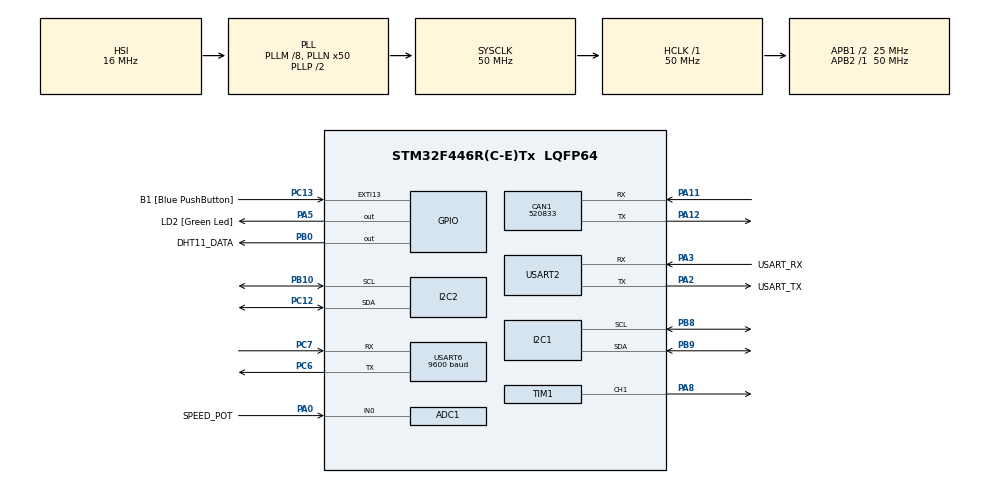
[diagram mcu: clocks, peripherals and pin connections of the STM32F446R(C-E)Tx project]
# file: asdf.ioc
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ADC1.Channel-0\#ChannelRegularConversion=ADC_CHANNEL_0
ADC1.NbrOfConversionFlag=1
ADC1.Rank-0\#ChannelRegularConversion=1
ADC1.SamplingTime-0\#ChannelRegularConversion=ADC_SAMPLETIME_3CYCLES
ADC1.master=1
CAN1.CalculateBaudRate=520833
CAN1.CalculateTimeBit=1920
CAN1.CalculateTimeQuantum=640.0
Mcu.Family=STM32F4
Mcu.Name=STM32F446R(C-E)Tx
Mcu.Package=LQFP64
NVIC.CAN1_RX0_IRQn=true\:0\:0\:false\:false\:true\:true\:true\:true
NVIC.PriorityGroup=NVIC_PRIORITYGROUP_0
NVIC.USART6_IRQn=true\:0\:0\:false\:false\:true\:true\:true\:true
PA0-WKUP.GPIO_Label=SPEED_POT
PA0-WKUP.Signal=ADCx_IN0
PA11.Mode=CAN_Activate
PA11.Signal=CAN1_RX
PA12.Mode=CAN_Activate
PA12.Signal=CAN1_TX
PA13.GPIO_Label=TMS
PA13.Mode=Serial_Wire
PA13.Signal=SYS_JTMS-SWDIO
PA14.GPIO_Label=TCK
PA14.Mode=Serial_Wire
PA14.Signal=SYS_JTCK-SWCLK
PA2.GPIO_Label=USART_TX
PA2.Mode=Asynchronous
PA2.Signal=USART2_TX
PA3.GPIO_Label=USART_RX
PA3.Mode=Asynchronous
PA3.Signal=USART2_RX
PA5.GPIO_Label=LD2 [Green Led]
PA5.Signal=GPIO_Output
PA8.Signal=S_TIM1_CH1
PB0.GPIO_Label=DHT11_DATA
PB0.Signal=GPIO_Output
PB10.Mode=I2C
PB10.Signal=I2C2_SCL
PB3.GPIO_Label=SWO
PB3.Signal=SYS_JTDO-SWO
PB8.Mode=I2C
PB8.Signal=I2C1_SCL
PB9.Mode=I2C
PB9.Signal=I2C1_SDA
PC12.Mode=I2C
PC12.Signal=I2C2_SDA
PC13.GPIO_Label=B1 [Blue PushButton]
PC13.GPIO_ModeDefaultEXTI=GPIO_MODE_IT_FALLING
PC13.Signal=GPXTI13
PC14-OSC32_IN.Mode=LSE-External-Oscillator
PC14-OSC32_IN.Signal=RCC_OSC32_IN
PC15-OSC32_OUT.Mode=LSE-External-Oscillator
PC15-OSC32_OUT.Signal=RCC_OSC32_OUT
PC6.Mode=Asynchronous
PC6.Signal=USART6_TX
PC7.Mode=Asynchronous
PC7.Signal=USART6_RX
PH0-OSC_IN.Mode=HSE-External-Oscillator
PH0-OSC_IN.Signal=RCC_OSC_IN
PH1-OSC_OUT.Mode=HSE-External-Oscillator
PH1-OSC_OUT.Signal=RCC_OSC_OUT
ProjectManager.HeapSize=0x200
ProjectManager.StackSize=0x400
ProjectManager.TargetToolchain=STM32CubeIDE
RCC.48MHZClocksFreq_Value=84000000
RCC.AHBFreq_Value=50000000
RCC.APB1CLKDivider=RCC_HCLK_DIV2
RCC.APB1Freq_Value=25000000
RCC.APB1TimFreq_Value=50000000
RCC.APB2Freq_Value=50000000
RCC.APB2TimFreq_Value=50000000
RCC.CortexFreq_Value=50000000
RCC.FLatency-AdvancedSettings=FLASH_LATENCY_1
RCC.HCLKFreq_Value=50000000
RCC.HSE_VALUE=8000000
RCC.HSI_VALUE=16000000
RCC.PLLM=8
RCC.PLLN=50
RCC.SYSCLKFreq_VALUE=50000000
RCC.SYSCLKSource=RCC_SYSCLKSOURCE_PLLCLK
RCC.USBFreq_Value=50000000
RCC.VCOOutputFreq_Value=100000000
SH.ADCx_IN0.0=ADC1_IN0,IN0
SH.S_TIM1_CH1.0=TIM1_CH1,PWM Generation1 CH1
TIM1.Channel-PWM\ Generation1\ CH1=TIM_CHANNEL_1
TIM1.Prescaler=49
USART2.VirtualMode=VM_ASYNC
USART6.BaudRate=9600
USART6.VirtualMode=VM_ASYNC
VP_TIM1_VS_ClockSourceINT.Mode=Internal
board=NUCLEO-F446RE

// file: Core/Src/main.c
/* USER CODE BEGIN Header */
/**
 ******************************************************************************
 * @file           : main.c
 * @brief          : Main program body
 ******************************************************************************
 * @attention
 *
 * Copyright (c) 2026 STMicroelectronics.
 * All rights reserved.
 *
 * This software is licensed under terms that can be found in the LICENSE file
 * in the root directory of this software component.
 * If no LICENSE file comes with this software, it is provided AS-IS.
 *
 ******************************************************************************
 */
/* USER CODE END Header */
#include "main.h"
#include "adc.h"
#include "can.h"
#include "i2c.h"
#include "tim.h"
#include "usart.h"
#include "gpio.h"

/* USER CODE BEGIN Includes */
#include <stdio.h>
#include <string.h>
#include "bh1750.h"
#include "mk_dht11.h"
#include "i2c.h"
#include "i2c_lcd.h"
/* USER CODE END Includes */

/* USER CODE BEGIN PV */
// 센서 및 모듈 제어용 구조체 선언
I2C_LCD_HandleTypeDef hlcd;
dht11_t dht;

// 센서 데이터 변수
float temp = 0.0f;
float humidity = 0.0f;
float lux = 0.0f;
int current_speed = 0;

// JSON 통신 및 디버깅용 버퍼
char tx_buffer[256];
char debug_buffer[256];

// ESP32에서 수신받을 데이터를 담을 바구니
char rx_buffer[100];

/* USER CODE END PV */

void SystemClock_Config(void);

/* USER CODE BEGIN 0 */

// 1. 차량 고유번호 지정
const char *VEHICLE_ID = "1234";

// 2. 좌표 (위도, 경도)
// (서울좌표 : 37.5665f, 126.9780f)
// (부산좌표 : 35.1796f, 129.0756f)
// (해남좌표 : 34.5567f, 126.5751f)
const float LAT = 37.5665f;
const float LON = 126.9780f;
/* USER CODE END 0 */

int main(void) {

	/* MCU Configuration--------------------------------------------------------*/

	/* Reset of all peripherals, Initializes the Flash interface and the Systick. */
	HAL_Init();

	/* Configure the system clock */
	SystemClock_Config();

	/* Initialize all configured peripherals */
	MX_GPIO_Init();		// DANGER 수신받을때 경고 LED
	MX_ADC1_Init();		// 가변저항(가상의 차량속도)
	MX_CAN1_Init();
	MX_I2C1_Init();		// BH1750 조도센서 제어용 버스
	MX_USART2_UART_Init();	// PC 디버깅용 시리얼 채널
	MX_USART6_UART_Init();	// ESP32 보드와 직접 연결되어 데이터를 주고받는 메인 통신채널
	MX_TIM1_Init();		// DHT11 온습도 센서의 데이터 라인과 정밀 타이밍 제어용
	MX_I2C2_Init();		// LCD제어용 버스
	/* USER CODE BEGIN 2 */

	// BH1750 조도 센서 초기화 및 측정 모드 실행
	BH1750_Init(&hi2c1);
	// 센서를 깨우고 '연속 고해상도 측정 모드'로 설정
	BH1750_SetMode(CONTINUOUS_HIGH_RES_MODE);

	HAL_Delay(100);

	// I2C LCD 초기화
	hlcd.hi2c = &hi2c2;
	hlcd.address = 0x4E;
	lcd_init(&hlcd);
	lcd_puts(&hlcd, "System On");

	// 3. DHT11 초기화
	init_dht11(&dht, &htim1, GPIOB, GPIO_PIN_0);

	HAL_Delay(1500);
	// lcd_clear(&hlcd);
	/* USER CODE END 2 */

	/* Infinite loop */
	/* USER CODE BEGIN WHILE */

	// 서버 상태를 저장할 4글자 변수 (기본값은 WAIT)
	char ai_status[5] = "WAIT";

	while (1) {
		/* USER CODE END WHILE */

		/* USER CODE BEGIN 3 */
		// 온습도(DHT11) 읽기
		readDHT11(&dht);
		temp = (float) dht.temperature;
		humidity = (float) dht.humidty;

		// 조도(BH1750) 읽기
		float temp_lux = 0.0f;
		if (BH1750_ReadLight(&temp_lux) == BH1750_OK) {
			lux = temp_lux;
		} else {
			lux = -1.0f;
		}

		// 가상 속도(ADC 가변 저항) 읽기 (PA0 핀)
		HAL_ADC_Start(&hadc1);
		if (HAL_ADC_PollForConversion(&hadc1, 10) == HAL_OK) {
			uint32_t adc_val = HAL_ADC_GetValue(&hadc1);
			current_speed = (adc_val * 140) / 4095; // 최고 105km/h 매핑
		}

		// LCD 디스플레이 업데이트
		char lcd_buf[20];
		lcd_gotoxy(&hlcd, 0, 0);

		sprintf(lcd_buf, "T:%02dC H:%02d%% %s", (int) temp, (int) humidity,
				ai_status);
		lcd_puts(&hlcd, lcd_buf);

		lcd_gotoxy(&hlcd, 0, 1);
		sprintf(lcd_buf, "L:%04d S:%03d", (int) lux, current_speed);
		lcd_puts(&hlcd, lcd_buf);

		sprintf(tx_buffer,		// 송신 데이터 포맷
				"{\"vid\":\"%s\",\"lat\":%.4f,\"lon\":%.4f,\"temp\":%.1f,\"humidity\":%.1f,\"lux\":%.1f,\"speed\":%d}\n",
				VEHICLE_ID, LAT, LON, temp, humidity, lux, current_speed);

		HAL_UART_Transmit(&huart6, (uint8_t*) tx_buffer, strlen(tx_buffer),
				500); // 온습도,조도,가변저항 속도를 순차적으로 읽어 LCD에 뿌린뒤,JSOM 조립후 			huart6으로 송신

		// 디버깅 출력
		sprintf(debug_buffer, "[SEND] %s", tx_buffer);
		HAL_UART_Transmit(&huart2, (uint8_t*) debug_buffer,
				strlen(debug_buffer), 500);

		// 서버의 제어 명령 수신
		memset(rx_buffer, 0, sizeof(rx_buffer));

		// 데이터가 완전히 다 들어오지 않아도, 500ms 동안 ESP로부터 들어온 만큼만 받습니다.
		HAL_UART_Receive(&huart6, (uint8_t*) rx_buffer, sizeof(rx_buffer) - 1,
				500);

		// 수신된 데이터가 있다면 여기서 즉시 처리
		if (strlen(rx_buffer) > 0) {
			// 디버깅용: 수신된 내용을 PC 모니터(USART2)로 출력해 확인
			sprintf(debug_buffer, "[RX_DEBUG] %s\r\n", rx_buffer);
			HAL_UART_Transmit(&huart2, (uint8_t*) debug_buffer,
					strlen(debug_buffer), 100);

			// 받은 명령으로 LED(PA5) 제어 및 LCD 업데이트
			if (strstr(rx_buffer, "DANGER") != NULL) {
				strcpy(ai_status, "DANG");
				HAL_GPIO_WritePin(GPIOA, GPIO_PIN_5, GPIO_PIN_SET);
			} else if (strstr(rx_buffer, "WARNING") != NULL) {
				strcpy(ai_status, "WARN");
				HAL_GPIO_WritePin(GPIOA, GPIO_PIN_5, GPIO_PIN_RESET);
			} else if (strstr(rx_buffer, "SAFE") != NULL) {
				strcpy(ai_status, "SAFE");
				HAL_GPIO_WritePin(GPIOA, GPIO_PIN_5, GPIO_PIN_RESET);
			}
		}
		// 받은 명령으로 LED(PA5) 제어 및 LCD 업데이트
		// strstr은 대소문자를 구분하므로, 혹시 모를 대문자/소문자 문제와
		// JSON 형태의 복잡함을 모두 해결하기 위해 각 단어가 포함되어 있는지만 검사합니다.

		if (strstr(rx_buffer, "DANGER") != NULL) {
			strcpy(ai_status, "DANG");
			HAL_GPIO_WritePin(GPIOA, GPIO_PIN_5, GPIO_PIN_SET);
		} else if (strstr(rx_buffer, "WARNING") != NULL) {
			strcpy(ai_status, "WARN");
			HAL_GPIO_WritePin(GPIOA, GPIO_PIN_5, GPIO_PIN_RESET);
		} else if (strstr(rx_buffer, "SAFE") != NULL) {
			strcpy(ai_status, "SAFE");
			HAL_GPIO_WritePin(GPIOA, GPIO_PIN_5, GPIO_PIN_RESET);
		} else if (strlen(rx_buffer) > 0) {
			// 뭔가 받긴 했는데 DANGER/WARNING/SAFE가 아닐 때 (로그용)
			strcpy(ai_status, "ETHR");
		}

		// 남은 시간 대기 (총 1초 주기 유지)
		HAL_Delay(500);
	}
	/* USER CODE END 3 */
}

void SystemClock_Config(void) {
	RCC_OscInitTypeDef RCC_OscInitStruct = { 0 };
	RCC_ClkInitTypeDef RCC_ClkInitStruct = { 0 };

	/** Configure the main internal regulator output voltage
	 */
	__HAL_RCC_PWR_CLK_ENABLE();
	__HAL_PWR_VOLTAGESCALING_CONFIG(PWR_REGULATOR_VOLTAGE_SCALE3);

	/** Initializes the RCC Oscillators according to the specified parameters
	 * in the RCC_OscInitTypeDef structure.
	 */
	RCC_OscInitStruct.OscillatorType = RCC_OSCILLATORTYPE_HSI;
	RCC_OscInitStruct.HSIState = RCC_HSI_ON;
	RCC_OscInitStruct.HSICalibrationValue = RCC_HSICALIBRATION_DEFAULT;
	RCC_OscInitStruct.PLL.PLLState = RCC_PLL_ON;
	RCC_OscInitStruct.PLL.PLLSource = RCC_PLLSOURCE_HSI;
	RCC_OscInitStruct.PLL.PLLM = 8;
	RCC_OscInitStruct.PLL.PLLN = 50;
	RCC_OscInitStruct.PLL.PLLP = RCC_PLLP_DIV2;
	RCC_OscInitStruct.PLL.PLLQ = 2;
	RCC_OscInitStruct.PLL.PLLR = 2;
	if (HAL_RCC_OscConfig(&RCC_OscInitStruct) != HAL_OK) {
		Error_Handler();
	}

	/** Initializes the CPU, AHB and APB buses clocks
	 */
	RCC_ClkInitStruct.ClockType = RCC_CLOCKTYPE_HCLK | RCC_CLOCKTYPE_SYSCLK
			| RCC_CLOCKTYPE_PCLK1 | RCC_CLOCKTYPE_PCLK2;
	RCC_ClkInitStruct.SYSCLKSource = RCC_SYSCLKSOURCE_PLLCLK;
	RCC_ClkInitStruct.AHBCLKDivider = RCC_SYSCLK_DIV1;
	RCC_ClkInitStruct.APB1CLKDivider = RCC_HCLK_DIV2;
	RCC_ClkInitStruct.APB2CLKDivider = RCC_HCLK_DIV1;

	if (HAL_RCC_ClockConfig(&RCC_ClkInitStruct, FLASH_LATENCY_1) != HAL_OK) {
		Error_Handler();
	}
}

void Error_Handler(void) {
	__disable_irq();
	while (1) {
	}
}
